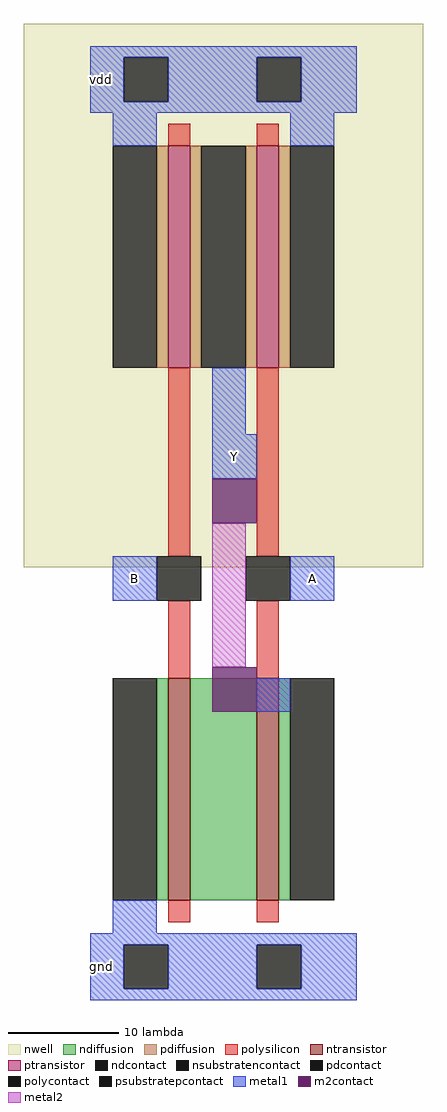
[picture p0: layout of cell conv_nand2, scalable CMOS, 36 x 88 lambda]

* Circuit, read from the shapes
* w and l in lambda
.subckt conv_nand2 A B Y vdd gnd
M1 n1 B gnd gnd nfet w=20 l=2
M2 Y A n1 gnd nfet w=20 l=2
M3 Y B vdd vdd pfet w=20 l=2
M4 vdd A Y vdd pfet w=20 l=2
.ends

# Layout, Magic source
magic
tech scmos
<< nwell >>
rect -6 36 30 85
<< ndiffusion >>
rect 6 6 7 26
rect 9 6 15 26
rect 17 6 18 26
<< pdiffusion >>
rect 6 54 7 74
rect 9 54 10 74
rect 14 54 15 74
rect 17 54 18 74
<< polysilicon >>
rect 7 4 9 6
rect 15 4 17 6
rect 7 26 9 33
rect 15 26 17 33
rect 7 37 9 54
rect 15 37 17 54
rect 7 74 9 76
rect 15 74 17 76
<< ntransistor >>
rect 7 6 9 26
rect 15 6 17 26
<< ptransistor >>
rect 7 54 9 74
rect 15 54 17 74
<< ndcontact >>
rect 2 6 6 26
rect 18 6 22 26
<< pdcontact >>
rect 2 54 6 74
rect 10 54 14 74
rect 18 54 22 74
<< polycontact >>
rect 6 33 10 37
rect 14 33 18 37
<< psubstratepcontact >>
rect 3 -2 7 2
rect 15 -2 19 2
<< nsubstratencontact >>
rect 3 78 7 82
rect 15 78 19 82
<< metal1 >>
rect 0 -3 24 -2
rect 0 -2 3 2
rect 7 -2 15 2
rect 19 -2 24 2
rect 0 2 24 3
rect 2 3 6 6
rect 15 23 18 26
rect 2 33 6 37
rect 18 33 22 37
rect 11 44 15 48
rect 11 48 14 54
rect 2 74 6 77
rect 18 74 22 77
rect 0 77 24 78
rect 0 78 3 82
rect 7 78 15 82
rect 19 78 24 82
rect 0 82 24 83
<< m2contact >>
rect 11 23 15 27
rect 11 40 15 44
<< metal2 >>
rect 11 27 14 40
<< labels >>
rlabel metal1 s 18 33 22 37 0 A
port 1 nsew signal input
rlabel metal1 s 2 33 6 37 0 B
port 2 nsew signal input
rlabel metal1 s 11 44 15 48 0 Y
port 3 nsew signal output
rlabel metal1 s 0 77 2 83 0 vdd
port 4 nsew power bidirectional
rlabel metal1 s 0 -3 2 3 0 gnd
port 5 nsew ground bidirectional
<< properties >>
string FIXED_BBOX 0 0 24 80
<< end >>
